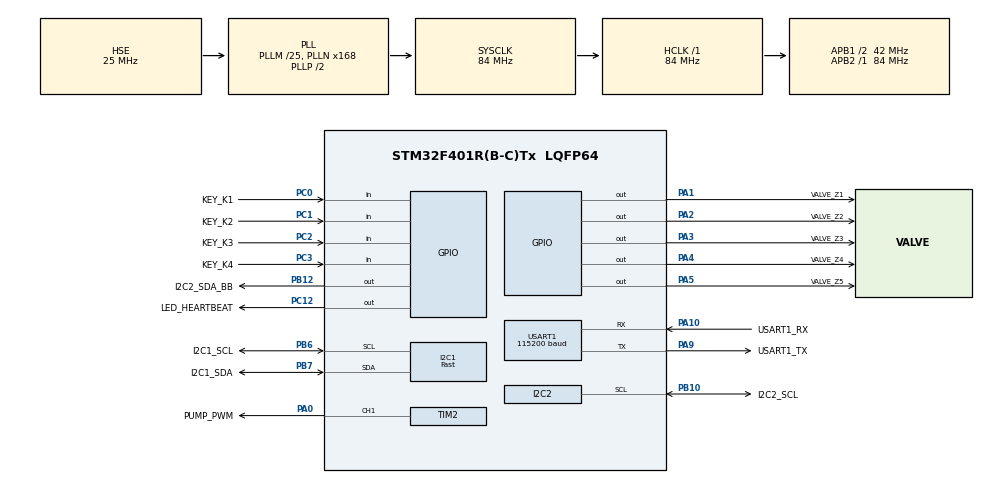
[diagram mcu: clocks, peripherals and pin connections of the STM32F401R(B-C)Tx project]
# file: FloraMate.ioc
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I2C1.I2C_Mode=I2C_Fast
I2C1.I2C_Speed_Frequency=400000
I2C1.I2C_Speed_Mode=I2C_Fast
I2C1.Timing=0x0010071B
Mcu.Family=STM32F4
Mcu.Name=STM32F401R(B-C)Tx
Mcu.Package=LQFP64
NVIC.PriorityGroup=NVIC_PRIORITYGROUP_4
NVIC.USART1_IRQn=true\:6\:0\:false\:false\:true\:false\:true\:true
PA0-WKUP.GPIO_Label=PUMP_PWM
PA0-WKUP.Signal=S_TIM2_CH1_ETR
PA1.GPIO_Label=VALVE_Z1
PA1.GPIO_ModeDefaultOutputPP=GPIO_MODE_OUTPUT_PP
PA1.GPIO_PuPd=GPIO_NOPULL
PA1.GPIO_Speed=GPIO_SPEED_FREQ_LOW
PA1.PinState=GPIO_PIN_RESET
PA1.Signal=GPIO_Output
PA10.GPIO_Label=USART1_RX
PA10.GPIO_PuPd=GPIO_PULLUP
PA10.Mode=Asynchronous
PA10.Signal=USART1_RX
PA13.Mode=Serial_Wire
PA13.Signal=SYS_JTMS-SWDIO
PA14.Mode=Serial_Wire
PA14.Signal=SYS_JTCK-SWCLK
PA2.GPIO_Label=VALVE_Z2
PA2.GPIO_ModeDefaultOutputPP=GPIO_MODE_OUTPUT_PP
PA2.GPIO_PuPd=GPIO_NOPULL
PA2.GPIO_Speed=GPIO_SPEED_FREQ_LOW
PA2.PinState=GPIO_PIN_RESET
PA2.Signal=GPIO_Output
PA3.GPIO_Label=VALVE_Z3
PA3.GPIO_ModeDefaultOutputPP=GPIO_MODE_OUTPUT_PP
PA3.GPIO_PuPd=GPIO_NOPULL
PA3.GPIO_Speed=GPIO_SPEED_FREQ_LOW
PA3.PinState=GPIO_PIN_RESET
PA3.Signal=GPIO_Output
PA4.GPIO_Label=VALVE_Z4
PA4.GPIO_ModeDefaultOutputPP=GPIO_MODE_OUTPUT_PP
PA4.GPIO_PuPd=GPIO_NOPULL
PA4.GPIO_Speed=GPIO_SPEED_FREQ_LOW
PA4.PinState=GPIO_PIN_RESET
PA4.Signal=GPIO_Output
PA5.GPIO_Label=VALVE_Z5
PA5.GPIO_ModeDefaultOutputPP=GPIO_MODE_OUTPUT_PP
PA5.GPIO_PuPd=GPIO_NOPULL
PA5.GPIO_Speed=GPIO_SPEED_FREQ_LOW
PA5.PinState=GPIO_PIN_RESET
PA5.Signal=GPIO_Output
PA9.GPIO_Label=USART1_TX
PA9.Mode=Asynchronous
PA9.Signal=USART1_TX
PB10.GPIO_Label=I2C2_SCL
PB10.Mode=I2C
PB10.Signal=I2C2_SCL
PB12.GPIO_Label=I2C2_SDA_BB
PB12.GPIO_ModeDefaultOutputPP=GPIO_MODE_OUTPUT_OD
PB12.GPIO_PuPd=GPIO_NOPULL
PB12.GPIO_Speed=GPIO_SPEED_FREQ_HIGH
PB12.PinState=GPIO_PIN_SET
PB12.Signal=GPIO_Output
PB6.GPIO_Label=I2C1_SCL
PB6.Mode=I2C
PB6.Signal=I2C1_SCL
PB7.GPIO_Label=I2C1_SDA
PB7.Mode=I2C
PB7.Signal=I2C1_SDA
PC0.GPIO_Label=KEY_K1
PC0.GPIO_ModeDefaultEXTI=GPIO_MODE_INPUT
PC0.GPIO_PuPd=GPIO_NOPULL
PC0.Signal=GPIO_Input
PC1.GPIO_Label=KEY_K2
PC1.GPIO_ModeDefaultEXTI=GPIO_MODE_INPUT
PC1.GPIO_PuPd=GPIO_NOPULL
PC1.Signal=GPIO_Input
PC12.GPIO_Label=LED_HEARTBEAT
PC12.GPIO_ModeDefaultOutputPP=GPIO_MODE_OUTPUT_PP
PC12.GPIO_PuPd=GPIO_NOPULL
PC12.GPIO_Speed=GPIO_SPEED_FREQ_LOW
PC12.PinState=GPIO_PIN_SET
PC12.Signal=GPIO_Output
PC2.GPIO_Label=KEY_K3
PC2.GPIO_ModeDefaultEXTI=GPIO_MODE_INPUT
PC2.GPIO_PuPd=GPIO_NOPULL
PC2.Signal=GPIO_Input
PC3.GPIO_Label=KEY_K4
PC3.GPIO_ModeDefaultEXTI=GPIO_MODE_INPUT
PC3.GPIO_PuPd=GPIO_NOPULL
PC3.Signal=GPIO_Input
PH0\ -\ OSC_IN.Mode=HSE-External-Oscillator
PH0\ -\ OSC_IN.Signal=RCC_OSC_IN
PH1\ -\ OSC_OUT.Mode=HSE-External-Oscillator
PH1\ -\ OSC_OUT.Signal=RCC_OSC_OUT
ProjectManager.HeapSize=0x200
ProjectManager.StackSize=0x800
ProjectManager.TargetToolchain=CMake
RCC.48MHZClocksFreq_Value=42000000
RCC.AHBFreq_Value=84000000
RCC.APB1CLKDivider=RCC_HCLK_DIV2
RCC.APB1Freq_Value=42000000
RCC.APB1TimFreq_Value=84000000
RCC.APB2Freq_Value=84000000
RCC.APB2TimFreq_Value=84000000
RCC.CortexFreq_Value=84000000
RCC.HCLKFreq_Value=84000000
RCC.HSE_VALUE=25000000
RCC.HSI_VALUE=16000000
RCC.LSE_VALUE=32768
RCC.PLLM=25
RCC.PLLN=168
RCC.PLLSourceVirtual=RCC_PLLSOURCE_HSE
RCC.SYSCLKFreq_VALUE=84000000
RCC.SYSCLKSource=RCC_SYSCLKSOURCE_PLLCLK
RCC.VCOOutputFreq_Value=168000000
SH.S_TIM2_CH1_ETR.0=TIM2_CH1,PWM Generation1 CH1
TIM2.AutoReloadPreload=TIM_AUTORELOAD_PRELOAD_ENABLE
TIM2.Channel-PWM\ Generation1\ CH1=TIM_CHANNEL_1
TIM2.Period=999
TIM2.Prescaler=839
TIM2.Pulse-PWM\ Generation1\ CH1=0
USART1.BaudRate=115200
USART1.VirtualMode=VM_ASYNC
USART1.VirtualMode-Asynchronous=VM_ASYNC
VP_TIM2_VS_ClockSourceINT.Mode=Internal
board=custom

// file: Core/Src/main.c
/* USER CODE BEGIN Header */
/**
  ******************************************************************************
  * @file           : main.c
  * @brief          : Main program body
  ******************************************************************************
  * @attention
  *
  * Copyright (c) 2026 STMicroelectronics.
  * All rights reserved.
  *
  * This software is licensed under terms that can be found in the LICENSE file
  * in the root directory of this software component.
  * If no LICENSE file comes with this software, it is provided AS-IS.
  *
  ******************************************************************************
  */
/* USER CODE END Header */
#include "main.h"
#include "i2c.h"
#include "tim.h"
#include "usart.h"
#include "gpio.h"

/* USER CODE BEGIN Includes */
/** 焊板首测：1 = 仅 PC12 心跳 LED 500 ms 闪烁；正式功能测试完成后改 0 并重新编译 */
#define FM_BOARD_BRINGUP_LED_ONLY  (1)
#define FM_BRINGUP_LED_PERIOD_MS   (500U)
#if !FM_BOARD_BRINGUP_LED_ONLY
#include "app_init.h"
#endif
/* USER CODE END Includes */

void SystemClock_Config(void);

int main(void)
{

  /* MCU Configuration--------------------------------------------------------*/

  /* Reset of all peripherals, Initializes the Flash interface and the Systick. */
  HAL_Init();

  /* Configure the system clock */
  SystemClock_Config();

  /* Initialize all configured peripherals */
  MX_GPIO_Init();
  MX_I2C1_Init();
  MX_USART1_UART_Init();
  MX_TIM2_Init();
  /* USER CODE BEGIN 2 */
#if FM_BOARD_BRINGUP_LED_ONLY
  /* 首测模式：MX_GPIO_Init 已将 PC12(LED) 置 High(灭)，低电平点亮 */
#else
  App_Init();
#endif
  /* USER CODE END 2 */

  /* Infinite loop */
  /* USER CODE BEGIN WHILE */
#if FM_BOARD_BRINGUP_LED_ONLY
  while (1)
  {
    HAL_GPIO_TogglePin(LED_HEARTBEAT_GPIO_Port, LED_HEARTBEAT_Pin);
    HAL_Delay(FM_BRINGUP_LED_PERIOD_MS);
  }
#else
  App_Loop();
#endif
  while (1)
  {
    /* USER CODE END WHILE */

  }
}

void SystemClock_Config(void)
{
  RCC_OscInitTypeDef RCC_OscInitStruct = {0};
  RCC_ClkInitTypeDef RCC_ClkInitStruct = {0};

  /** Configure the main internal regulator output voltage
  */
  __HAL_RCC_PWR_CLK_ENABLE();
  __HAL_PWR_VOLTAGESCALING_CONFIG(PWR_REGULATOR_VOLTAGE_SCALE2);

  /** Initializes the RCC Oscillators according to the specified parameters
  * in the RCC_OscInitTypeDef structure.
  */
  RCC_OscInitStruct.OscillatorType = RCC_OSCILLATORTYPE_HSE;
  RCC_OscInitStruct.HSEState = RCC_HSE_ON;
  RCC_OscInitStruct.PLL.PLLState = RCC_PLL_ON;
  RCC_OscInitStruct.PLL.PLLSource = RCC_PLLSOURCE_HSE;
  RCC_OscInitStruct.PLL.PLLM = 25;
  RCC_OscInitStruct.PLL.PLLN = 168;
  RCC_OscInitStruct.PLL.PLLP = RCC_PLLP_DIV2;
  RCC_OscInitStruct.PLL.PLLQ = 4;
  if (HAL_RCC_OscConfig(&RCC_OscInitStruct) != HAL_OK)
  {
    Error_Handler();
  }

  /** Initializes the CPU, AHB and APB buses clocks
  */
  RCC_ClkInitStruct.ClockType = RCC_CLOCKTYPE_HCLK|RCC_CLOCKTYPE_SYSCLK
                              |RCC_CLOCKTYPE_PCLK1|RCC_CLOCKTYPE_PCLK2;
  RCC_ClkInitStruct.SYSCLKSource = RCC_SYSCLKSOURCE_PLLCLK;
  RCC_ClkInitStruct.AHBCLKDivider = RCC_SYSCLK_DIV1;
  RCC_ClkInitStruct.APB1CLKDivider = RCC_HCLK_DIV2;
  RCC_ClkInitStruct.APB2CLKDivider = RCC_HCLK_DIV1;

  if (HAL_RCC_ClockConfig(&RCC_ClkInitStruct, FLASH_LATENCY_2) != HAL_OK)
  {
    Error_Handler();
  }
}

void Error_Handler(void)
{
  __disable_irq();
  while (1)
  {
  }
}
